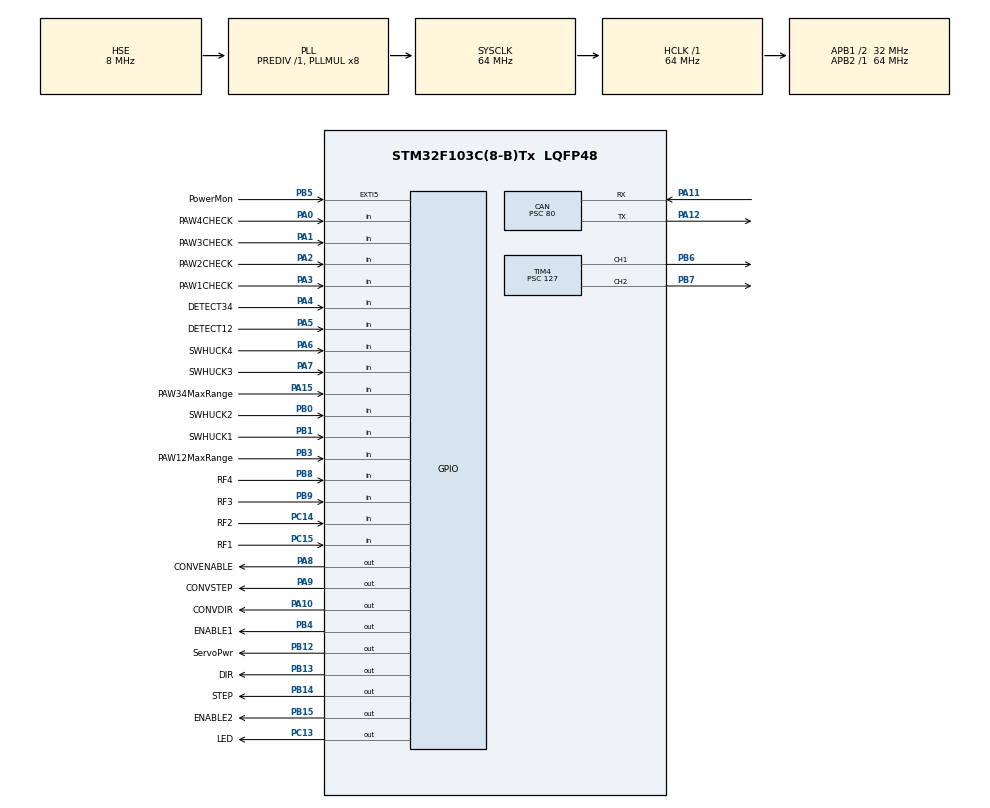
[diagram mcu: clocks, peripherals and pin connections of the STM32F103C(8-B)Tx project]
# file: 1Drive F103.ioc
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CAN.BS1=CAN_BS1_13TQ
CAN.BS2=CAN_BS2_2TQ
CAN.CalculateTimeBit=40000
CAN.CalculateTimeQuantum=2500.0
CAN.NART=ENABLE
CAN.Prescaler=80
CAN.SJW=CAN_SJW_2TQ
Mcu.Family=STM32F1
Mcu.Name=STM32F103C(8-B)Tx
Mcu.Package=LQFP48
NVIC.CAN1_RX1_IRQn=true\:0\:0\:false\:false\:true\:true\:true
NVIC.CAN1_SCE_IRQn=true\:0\:0\:false\:false\:true\:true\:true
NVIC.EXTI9_5_IRQn=true\:0\:0\:false\:false\:true\:true\:true
NVIC.PriorityGroup=NVIC_PRIORITYGROUP_4
NVIC.TIM4_IRQn=true\:0\:0\:false\:false\:true\:true\:true
NVIC.USB_HP_CAN1_TX_IRQn=true\:0\:0\:false\:false\:true\:true\:true
NVIC.USB_LP_CAN1_RX0_IRQn=true\:0\:0\:false\:false\:true\:true\:true
PA0-WKUP.GPIO_Label=PAW4CHECK
PA0-WKUP.GPIO_PuPd=GPIO_PULLDOWN
PA0-WKUP.Signal=GPIO_Input
PA1.GPIO_Label=PAW3CHECK
PA1.GPIO_PuPd=GPIO_PULLDOWN
PA1.Signal=GPIO_Input
PA10.GPIO_Label=CONVDIR
PA10.GPIO_PuPd=GPIO_PULLDOWN
PA10.Signal=GPIO_Output
PA11.Mode=Master
PA11.Signal=CAN_RX
PA12.Mode=Master
PA12.Signal=CAN_TX
PA13.Mode=Serial_Wire
PA13.Signal=SYS_JTMS-SWDIO
PA14.Mode=Serial_Wire
PA14.Signal=SYS_JTCK-SWCLK
PA15.GPIO_Label=PAW34MaxRange
PA15.GPIO_PuPd=GPIO_PULLDOWN
PA15.Signal=GPIO_Input
PA2.GPIO_Label=PAW2CHECK
PA2.GPIO_PuPd=GPIO_PULLDOWN
PA2.Signal=GPIO_Input
PA3.GPIO_Label=PAW1CHECK
PA3.GPIO_PuPd=GPIO_PULLDOWN
PA3.Signal=GPIO_Input
PA4.GPIO_Label=DETECT34
PA4.GPIO_PuPd=GPIO_PULLDOWN
PA4.Signal=GPIO_Input
PA5.GPIO_Label=DETECT12
PA5.GPIO_PuPd=GPIO_PULLDOWN
PA5.Signal=GPIO_Input
PA6.GPIO_Label=SWHUCK4
PA6.GPIO_PuPd=GPIO_PULLDOWN
PA6.Signal=GPIO_Input
PA7.GPIO_Label=SWHUCK3
PA7.GPIO_PuPd=GPIO_PULLDOWN
PA7.Signal=GPIO_Input
PA8.GPIO_Label=CONVENABLE
PA8.GPIO_PuPd=GPIO_PULLDOWN
PA8.Signal=GPIO_Output
PA9.GPIO_Label=CONVSTEP
PA9.GPIO_PuPd=GPIO_PULLDOWN
PA9.Signal=GPIO_Output
PB0.GPIO_Label=SWHUCK2
PB0.GPIO_PuPd=GPIO_PULLDOWN
PB0.Signal=GPIO_Input
PB1.GPIO_Label=SWHUCK1
PB1.GPIO_PuPd=GPIO_PULLDOWN
PB1.Signal=GPIO_Input
PB12.GPIO_Label=ServoPwr
PB12.GPIO_PuPd=GPIO_PULLDOWN
PB12.Signal=GPIO_Output
PB13.GPIO_Label=DIR
PB13.GPIO_PuPd=GPIO_PULLDOWN
PB13.Signal=GPIO_Output
PB14.GPIO_Label=STEP
PB14.GPIO_PuPd=GPIO_PULLDOWN
PB14.Signal=GPIO_Output
PB15.GPIO_Label=ENABLE2
PB15.GPIO_PuPd=GPIO_PULLUP
PB15.Signal=GPIO_Output
PB3.GPIO_Label=PAW12MaxRange
PB3.GPIO_PuPd=GPIO_PULLDOWN
PB3.Signal=GPIO_Input
PB4.GPIO_Label=ENABLE1
PB4.GPIO_ModeDefaultOutputPP=GPIO_MODE_OUTPUT_PP
PB4.GPIO_PuPd=GPIO_PULLUP
PB4.Signal=GPIO_Output
PB5.GPIO_Label=PowerMon
PB5.GPIO_ModeDefaultEXTI=GPIO_MODE_IT_FALLING
PB5.GPIO_PuPd=GPIO_PULLDOWN
PB5.Signal=GPXTI5
PB6.GPIO_Speed=GPIO_SPEED_FREQ_HIGH
PB6.Signal=S_TIM4_CH1
PB7.Signal=S_TIM4_CH2
PB8.GPIO_Label=RF4
PB8.GPIO_PuPd=GPIO_PULLDOWN
PB8.Signal=GPIO_Input
PB9.GPIO_Label=RF3
PB9.GPIO_PuPd=GPIO_PULLDOWN
PB9.Signal=GPIO_Input
PC13-TAMPER-RTC.GPIO_Label=LED
PC13-TAMPER-RTC.GPIO_PuPd=GPIO_PULLDOWN
PC13-TAMPER-RTC.Signal=GPIO_Output
PC14-OSC32_IN.GPIO_Label=RF2
PC14-OSC32_IN.GPIO_PuPd=GPIO_PULLDOWN
PC14-OSC32_IN.Signal=GPIO_Input
PC15-OSC32_OUT.GPIO_Label=RF1
PC15-OSC32_OUT.GPIO_PuPd=GPIO_PULLDOWN
PC15-OSC32_OUT.Signal=GPIO_Input
PD0-OSC_IN.Mode=HSE-External-Oscillator
PD0-OSC_IN.Signal=RCC_OSC_IN
PD1-OSC_OUT.Mode=HSE-External-Oscillator
PD1-OSC_OUT.Signal=RCC_OSC_OUT
ProjectManager.HeapSize=0x200
ProjectManager.StackSize=0x400
ProjectManager.TargetToolchain=MDK-ARM V5.27
RCC.AHBFreq_Value=64000000
RCC.APB1CLKDivider=RCC_HCLK_DIV2
RCC.APB1Freq_Value=32000000
RCC.APB1TimFreq_Value=64000000
RCC.APB2Freq_Value=64000000
RCC.APB2TimFreq_Value=64000000
RCC.HCLKFreq_Value=64000000
RCC.PLLMUL=RCC_PLL_MUL8
RCC.PLLSourceVirtual=RCC_PLLSOURCE_HSE
RCC.SYSCLKFreq_VALUE=64000000
RCC.SYSCLKSource=RCC_SYSCLKSOURCE_PLLCLK
RCC.USBFreq_Value=64000000
SH.S_TIM4_CH1.0=TIM4_CH1,PWM Generation1 CH1
SH.S_TIM4_CH2.0=TIM4_CH2,PWM Generation2 CH2
TIM4.AutoReloadPreload=TIM_AUTORELOAD_PRELOAD_DISABLE
TIM4.Channel-PWM\ Generation1\ CH1=TIM_CHANNEL_1
TIM4.Channel-PWM\ Generation2\ CH2=TIM_CHANNEL_2
TIM4.Period=10000
TIM4.Prescaler=127
VP_TIM4_VS_ClockSourceINT.Mode=Internal
board=custom

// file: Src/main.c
/* USER CODE BEGIN Header */
/**
  ******************************************************************************
  * @file           : main.c
  * @brief          : Main program body
  ******************************************************************************
  * @attention
  *
  * <h2><center>&copy; Copyright (c) 2020 STMicroelectronics.
  * All rights reserved.</center></h2>
  *
  * This software component is licensed by ST under BSD 3-Clause license,
  * the "License"; You may not use this file except in compliance with the
  * License. You may obtain a copy of the License at:
  *                        opensource.org/licenses/BSD-3-Clause
  *
  ******************************************************************************
  */
/* USER CODE END Header */

#include "main.h"

CAN_HandleTypeDef hcan;

TIM_HandleTypeDef htim4;

void SystemClock_Config(void);
static void MX_GPIO_Init(void);
static void MX_CAN_Init(void);
static void MX_TIM4_Init(void);
/* USER CODE BEGIN PFP */

	// variables for CAN communication
	CAN_TxHeaderTypeDef   TxHeader = {0};
	CAN_RxHeaderTypeDef   RxHeader	= {0};
	 uint8_t               RxData[8] = {0};
	uint32_t              TxMailbox = 0;
	volatile uint16_t		 					RxFlags = 0;				// flags for RX request handling

	//variables for control stepdrives
	volatile int16_t Goal = 0; 						// Goal of paws position
	volatile int16_t Position = 0;   			// position whaere paws located
	volatile uint32_t MinDelay = 40000; 	  // Max Speed (delay between toggles step pin than speed is MAX)
	volatile uint32_t StepDelay = 0;				// delay between steps
	volatile uint16_t Boost = 10000; 			// 1 = MAX boost 65535 = MIN boost
	volatile uint32_t MinSpeed = 600;	  	// move graphic boost function to left side. Whan value == 0 boost function do not move
	volatile int16_t PawMaxPosition = 2000;// this value must be determinate by colibration!!!
	volatile int16_t PawMinPosition = 2000;// this value must be determinate by colibration!!!
	volatile int16_t PositionForTransmit =0;

	//variable for Servo control
	volatile uint16_t PawRxSize = 0;
	volatile uint16_t PawSize = 0;			 	// range between 600 and 870
	volatile uint16_t PawMaxSize = 850; 	// MAX value of variable PawSize, need colibration after reset!
	// NEED REALISE PawMinSize FUNCTION!
	volatile uint16_t PawMinSize = 600; 	// MIN value of variable PawSize, need colibration after reset!
	volatile uint32_t PawOldGetTick = 0;
//uint8_t PawZeroPosition = 1;

	//variables for Conveyor control
	volatile int16_t ConvRot = 0;			// ritation conveyor on this steps + or -

/* USER CODE END PFP */

int main(void)
{
  /* USER CODE BEGIN 1 */
  SCB_DEMCR |= CoreDebug_DEMCR_TRCENA_Msk;// ????????? ???????????? DWT
  DWT_CONTROL|= DWT_CTRL_CYCCNTENA_Msk; // ???????? ???????
  DWT_CYCCNT = 0;// ???????? ???????
  /* USER CODE END 1 */

  /* MCU Configuration--------------------------------------------------------*/

  /* Reset of all peripherals, Initializes the Flash interface and the Systick. */
  HAL_Init();

  /* Configure the system clock */
  SystemClock_Config();

  /* Initialize all configured peripherals */
  MX_GPIO_Init();
  MX_CAN_Init();
  MX_TIM4_Init();
  /* USER CODE BEGIN 2 */
	HAL_GPIO_WritePin(ENABLE1_GPIO_Port, ENABLE1_Pin, GPIO_PIN_SET); // turn Off drivers
	HAL_GPIO_WritePin(ENABLE2_GPIO_Port, ENABLE2_Pin, GPIO_PIN_SET); // turn Off drivers

	GPIOC->ODR = 0 << 13;HAL_Delay(500);GPIOC->ODR = 1 << 13;HAL_Delay(300);

	HAL_TIM_PWM_Start(&htim4,TIM_CHANNEL_1);
	HAL_TIM_PWM_Start(&htim4,TIM_CHANNEL_2);
	TIM4 -> CCR1 = 850;
	TIM4 -> CCR2 = 850;
	HAL_Delay(500);

  /* USER CODE END 2 */

  /* Infinite loop */
  /* USER CODE BEGIN WHILE */
  while (1)
  {
		MotorControl();
		RxAnswerFunction();
		ScanBox();

	/////////////for debug////////
//		if ( (HAL_GPIO_ReadPin(PAW2CHECK_GPIO_Port,PAW2CHECK_Pin) == 1) )GPIOC->ODR = 0 << 13;
//		else GPIOC->ODR = 1 << 13;
//	if ( (HAL_GPIO_ReadPin(DETECT12_GPIO_Port,DETECT12_Pin) == 1) )GPIOC->ODR = 0 << 13;
//		else GPIOC->ODR = 1 << 13;
		///////for debug/////////////

    /* USER CODE END WHILE */

  }
}

void SystemClock_Config(void)
{
  RCC_OscInitTypeDef RCC_OscInitStruct = {0};
  RCC_ClkInitTypeDef RCC_ClkInitStruct = {0};

  /** Initializes the CPU, AHB and APB busses clocks
  */
  RCC_OscInitStruct.OscillatorType = RCC_OSCILLATORTYPE_HSE;
  RCC_OscInitStruct.HSEState = RCC_HSE_ON;
  RCC_OscInitStruct.HSEPredivValue = RCC_HSE_PREDIV_DIV1;
  RCC_OscInitStruct.HSIState = RCC_HSI_ON;
  RCC_OscInitStruct.PLL.PLLState = RCC_PLL_ON;
  RCC_OscInitStruct.PLL.PLLSource = RCC_PLLSOURCE_HSE;
  RCC_OscInitStruct.PLL.PLLMUL = RCC_PLL_MUL8;
  if (HAL_RCC_OscConfig(&RCC_OscInitStruct) != HAL_OK)
  {
    Error_Handler();
  }
  /** Initializes the CPU, AHB and APB busses clocks
  */
  RCC_ClkInitStruct.ClockType = RCC_CLOCKTYPE_HCLK|RCC_CLOCKTYPE_SYSCLK
                              |RCC_CLOCKTYPE_PCLK1|RCC_CLOCKTYPE_PCLK2;
  RCC_ClkInitStruct.SYSCLKSource = RCC_SYSCLKSOURCE_PLLCLK;
  RCC_ClkInitStruct.AHBCLKDivider = RCC_SYSCLK_DIV1;
  RCC_ClkInitStruct.APB1CLKDivider = RCC_HCLK_DIV2;
  RCC_ClkInitStruct.APB2CLKDivider = RCC_HCLK_DIV1;

  if (HAL_RCC_ClockConfig(&RCC_ClkInitStruct, FLASH_LATENCY_2) != HAL_OK)
  {
    Error_Handler();
  }
}

static void MX_CAN_Init(void)
{

  hcan.Instance = CAN1;
  hcan.Init.Prescaler = 80;
  hcan.Init.Mode = CAN_MODE_NORMAL;
  hcan.Init.SyncJumpWidth = CAN_SJW_2TQ;
  hcan.Init.TimeSeg1 = CAN_BS1_13TQ;
  hcan.Init.TimeSeg2 = CAN_BS2_2TQ;
  hcan.Init.TimeTriggeredMode = DISABLE;
  hcan.Init.AutoBusOff = DISABLE;
  hcan.Init.AutoWakeUp = DISABLE;
  hcan.Init.AutoRetransmission = ENABLE;
  hcan.Init.ReceiveFifoLocked = DISABLE;
  hcan.Init.TransmitFifoPriority = DISABLE;
  if (HAL_CAN_Init(&hcan) != HAL_OK)
  {
    Error_Handler();
  }
  /* USER CODE BEGIN CAN_Init 2 */
 CAN_FilterTypeDef  sFilterConfig;

  sFilterConfig.FilterBank = 0;
  sFilterConfig.FilterMode = CAN_FILTERMODE_IDMASK;
  sFilterConfig.FilterScale = CAN_FILTERSCALE_16BIT;
  sFilterConfig.FilterIdHigh = 0x0100 << 5;
  sFilterConfig.FilterIdLow = 0x0000;
  sFilterConfig.FilterMaskIdHigh = 0x0F00 << 5;
  sFilterConfig.FilterMaskIdLow = 0xFFFF;
  sFilterConfig.FilterFIFOAssignment = CAN_RX_FIFO0;
  sFilterConfig.FilterActivation = ENABLE;
  sFilterConfig.SlaveStartFilterBank = 14;

  if (HAL_CAN_ConfigFilter(&hcan, &sFilterConfig) != HAL_OK)
  {
    /* Filter configuration Error */
    Error_Handler();
  }

  /* Start the CAN peripheral */
  if (HAL_CAN_Start(&hcan) != HAL_OK)
  {
    /* Start Error */
    Error_Handler();
  }

  /* Activate CAN RX notification */
  if (HAL_CAN_ActivateNotification(&hcan, CAN_IT_RX_FIFO0_MSG_PENDING) != HAL_OK)
  {
    /* Notification Error */
    Error_Handler();
  }

  /* Configure Transmission process */

	//TxHeader.StdId = 0x0300;
  //TxHeader.RTR = CAN_RTR_DATA;
  TxHeader.IDE = CAN_ID_STD;
  //TxHeader.DLC = 8;
  TxHeader.TransmitGlobalTime = DISABLE;

  /* USER CODE END CAN_Init 2 */

}

static void MX_TIM4_Init(void)
{

  TIM_ClockConfigTypeDef sClockSourceConfig = {0};
  TIM_MasterConfigTypeDef sMasterConfig = {0};
  TIM_OC_InitTypeDef sConfigOC = {0};

  htim4.Instance = TIM4;
  htim4.Init.Prescaler = 127;
  htim4.Init.CounterMode = TIM_COUNTERMODE_UP;
  htim4.Init.Period = 10000;
  htim4.Init.ClockDivision = TIM_CLOCKDIVISION_DIV1;
  htim4.Init.AutoReloadPreload = TIM_AUTORELOAD_PRELOAD_DISABLE;
  if (HAL_TIM_Base_Init(&htim4) != HAL_OK)
  {
    Error_Handler();
  }
  sClockSourceConfig.ClockSource = TIM_CLOCKSOURCE_INTERNAL;
  if (HAL_TIM_ConfigClockSource(&htim4, &sClockSourceConfig) != HAL_OK)
  {
    Error_Handler();
  }
  if (HAL_TIM_PWM_Init(&htim4) != HAL_OK)
  {
    Error_Handler();
  }
  sMasterConfig.MasterOutputTrigger = TIM_TRGO_RESET;
  sMasterConfig.MasterSlaveMode = TIM_MASTERSLAVEMODE_DISABLE;
  if (HAL_TIMEx_MasterConfigSynchronization(&htim4, &sMasterConfig) != HAL_OK)
  {
    Error_Handler();
  }
  sConfigOC.OCMode = TIM_OCMODE_PWM1;
  sConfigOC.Pulse = 0;
  sConfigOC.OCPolarity = TIM_OCPOLARITY_HIGH;
  sConfigOC.OCFastMode = TIM_OCFAST_DISABLE;
  if (HAL_TIM_PWM_ConfigChannel(&htim4, &sConfigOC, TIM_CHANNEL_1) != HAL_OK)
  {
    Error_Handler();
  }
  if (HAL_TIM_PWM_ConfigChannel(&htim4, &sConfigOC, TIM_CHANNEL_2) != HAL_OK)
  {
    Error_Handler();
  }
  HAL_TIM_MspPostInit(&htim4);

}

static void MX_GPIO_Init(void)
{
  GPIO_InitTypeDef GPIO_InitStruct = {0};

  /* GPIO Ports Clock Enable */
  __HAL_RCC_GPIOC_CLK_ENABLE();
  __HAL_RCC_GPIOD_CLK_ENABLE();
  __HAL_RCC_GPIOA_CLK_ENABLE();
  __HAL_RCC_GPIOB_CLK_ENABLE();

  /*Configure GPIO pin Output Level */
  HAL_GPIO_WritePin(LED_GPIO_Port, LED_Pin, GPIO_PIN_RESET);

  /*Configure GPIO pin Output Level */
  HAL_GPIO_WritePin(GPIOB, ServoPwr_Pin|DIR_Pin|STEP_Pin|ENABLE2_Pin
                          |ENABLE1_Pin, GPIO_PIN_RESET);

  /*Configure GPIO pin Output Level */
  HAL_GPIO_WritePin(GPIOA, CONVENABLE_Pin|CONVSTEP_Pin|CONVDIR_Pin, GPIO_PIN_RESET);

  /*Configure GPIO pin : LED_Pin */
  GPIO_InitStruct.Pin = LED_Pin;
  GPIO_InitStruct.Mode = GPIO_MODE_OUTPUT_PP;
  GPIO_InitStruct.Pull = GPIO_PULLDOWN;
  GPIO_InitStruct.Speed = GPIO_SPEED_FREQ_LOW;
  HAL_GPIO_Init(LED_GPIO_Port, &GPIO_InitStruct);

  /*Configure GPIO pins : RF2_Pin RF1_Pin */
  GPIO_InitStruct.Pin = RF2_Pin|RF1_Pin;
  GPIO_InitStruct.Mode = GPIO_MODE_INPUT;
  GPIO_InitStruct.Pull = GPIO_PULLDOWN;
  HAL_GPIO_Init(GPIOC, &GPIO_InitStruct);

  /*Configure GPIO pins : PAW4CHECK_Pin PAW3CHECK_Pin PAW2CHECK_Pin PAW1CHECK_Pin
                           DETECT34_Pin DETECT12_Pin SWHUCK4_Pin SWHUCK3_Pin
                           PAW34MaxRange_Pin */
  GPIO_InitStruct.Pin = PAW4CHECK_Pin|PAW3CHECK_Pin|PAW2CHECK_Pin|PAW1CHECK_Pin
                          |DETECT34_Pin|DETECT12_Pin|SWHUCK4_Pin|SWHUCK3_Pin
                          |PAW34MaxRange_Pin;
  GPIO_InitStruct.Mode = GPIO_MODE_INPUT;
  GPIO_InitStruct.Pull = GPIO_PULLDOWN;
  HAL_GPIO_Init(GPIOA, &GPIO_InitStruct);

  /*Configure GPIO pins : SWHUCK2_Pin SWHUCK1_Pin PAW12MaxRange_Pin RF4_Pin
                           RF3_Pin */
  GPIO_InitStruct.Pin = SWHUCK2_Pin|SWHUCK1_Pin|PAW12MaxRange_Pin|RF4_Pin
                          |RF3_Pin;
  GPIO_InitStruct.Mode = GPIO_MODE_INPUT;
  GPIO_InitStruct.Pull = GPIO_PULLDOWN;
  HAL_GPIO_Init(GPIOB, &GPIO_InitStruct);

  /*Configure GPIO pins : ServoPwr_Pin DIR_Pin STEP_Pin */
  GPIO_InitStruct.Pin = ServoPwr_Pin|DIR_Pin|STEP_Pin;
  GPIO_InitStruct.Mode = GPIO_MODE_OUTPUT_PP;
  GPIO_InitStruct.Pull = GPIO_PULLDOWN;
  GPIO_InitStruct.Speed = GPIO_SPEED_FREQ_LOW;
  HAL_GPIO_Init(GPIOB, &GPIO_InitStruct);

  /*Configure GPIO pins : ENABLE2_Pin ENABLE1_Pin */
  GPIO_InitStruct.Pin = ENABLE2_Pin|ENABLE1_Pin;
  GPIO_InitStruct.Mode = GPIO_MODE_OUTPUT_PP;
  GPIO_InitStruct.Pull = GPIO_PULLUP;
  GPIO_InitStruct.Speed = GPIO_SPEED_FREQ_LOW;
  HAL_GPIO_Init(GPIOB, &GPIO_InitStruct);

  /*Configure GPIO pins : CONVENABLE_Pin CONVSTEP_Pin CONVDIR_Pin */
  GPIO_InitStruct.Pin = CONVENABLE_Pin|CONVSTEP_Pin|CONVDIR_Pin;
  GPIO_InitStruct.Mode = GPIO_MODE_OUTPUT_PP;
  GPIO_InitStruct.Pull = GPIO_PULLDOWN;
  GPIO_InitStruct.Speed = GPIO_SPEED_FREQ_LOW;
  HAL_GPIO_Init(GPIOA, &GPIO_InitStruct);

  /*Configure GPIO pin : PowerMon_Pin */
  GPIO_InitStruct.Pin = PowerMon_Pin;
  GPIO_InitStruct.Mode = GPIO_MODE_IT_FALLING;
  GPIO_InitStruct.Pull = GPIO_PULLDOWN;
  HAL_GPIO_Init(PowerMon_GPIO_Port, &GPIO_InitStruct);

  /* EXTI interrupt init*/
  HAL_NVIC_SetPriority(EXTI9_5_IRQn, 0, 0);
  HAL_NVIC_EnableIRQ(EXTI9_5_IRQn);

}

/* USER CODE BEGIN 4 */
void HAL_CAN_RxFifo0MsgPendingCallback(CAN_HandleTypeDef *hcan)
{
  /* Get RX message */
  HAL_CAN_GetRxMessage(hcan, CAN_RX_FIFO0, &RxHeader, RxData);

	switch (RxHeader.StdId & 0x00FF)
	{
		case 1:
			// request valie of distanse 1,2,3,4

			RxFlags |= 1<<1;
		break;
		case 2:
			// RESET mcu
			NVIC_SystemReset();
		break;
		case 3://data s16
			//new Goal of position paws 'N'

			//////for debug////////
		GPIOC->ODR = 0 << 13;
		//////end debug///////

			RxFlags |= 1<<3;
			Goal =(((uint16_t) RxData[0]<<8) | RxData[1]);
		break;
		case 4:
			//reduction paws until tuch

			RxFlags |= 1<<4;
		break;
		case 5:
			//remove the grip in '0' position

			RxFlags |= 1<<5;
			Goal = 0;
		break;
		case 6://data u16
			// reduction paws on the distanse 'PawSize'
			GPIOC->ODR = 0 << 13;

			RxFlags |= 1<<6;
			PawOldGetTick = HAL_GetTick();
			PawRxSize = (((uint16_t) RxData[0]<<8) | RxData[1]);
			PawSize = PawRxSize;
			TIM4 -> CCR1 = PawSize;
			TIM4 -> CCR2 = PawSize;

		break;
		case 7://data u32
			// set max speed moving paws

			RxFlags |= 1<<7;
			MinDelay = ( ((uint32_t) RxData[0]<<24) | ((uint32_t) RxData[1]<<16) | ((uint32_t) RxData[2]<<8) | RxData[3]);
		break;
		case 8://data s16
			// rotate conveyor on "A" steps + or -

			RxFlags |= 1<<8;
			ConvRot = ( ((uint16_t) RxData[0]<<8) | RxData[1]);
		break;
		case 9:
			// request of conveer position

			RxFlags |= 1<<9;
		break;
		case 10:
			// request of paws size, need send "PawSize"

			RxFlags |= 1<<10;
		break;
		case 11:
			// calibrate max speed and long paws.
			// need send value:  max posetive range '+'16b, Max negative range '-'16b, Max Speed(Min delay)32b.

			RxFlags |= 1<<11;
		break;
		case 12:
			// calibrate max and min range between paws
			// anser weel be (Colibration complete, MAX uint16_t value, MIN uint16_t value)

			RxFlags |= 1<<12;
		break;
		case 13:
			// EMERGENCY STOP!

			RxFlags |= 1<<13;
		break;
		case 14:
			// scan DEPTH of BOX
		//	GPIOC->ODR = 0 << 13;
			RxFlags |= 1<<14;
		break;
	}

  /* Display LEDx */
	/*
	if ((RxHeader.StdId == 0x0010) && (RxHeader.IDE == CAN_ID_STD) && (RxHeader.DLC == 8))
  {
	 GPIOC->ODR = RxData[0] << 13;
  }
	*/
}
void HAL_CAN_TxMailbox0CompleteCallback (CAN_HandleTypeDef *hcan)
{
	 GPIOC->ODR = 0 << 13;
//	HAL_Delay(100);
	GPIOC->ODR = 1 << 13;

}

char MotorControl (void)
{
	/* This function for work use graphic (1/x*x)

	Global variables for work this function:

	uint32_t Goal = 0; 					// Goal of cart position
	uint32_t Position = 0;   		// position whaere cart located
	uint32_t MinDelay = 20000;  // Max Speed (delay between toggles step pin than speed is MAX)
	uint32_t StepDelay = 0;			// delay between steps
	uint16_t Boost = 8000; 			// 1 = MAX boost 65535 = MIN boost
	uint32_t MinSpeed = 600;	  // move graphic boost function to left side. Whan value == 0 boost function do not move
	*/

		static uint32_t Distance = 0;		// nomber of steps between Location and Goal
		static uint32_t Step = 0;				// nomber of step
		static uint8_t FlagStep = 0;

	if (Position != Goal)
	{
		HAL_GPIO_WritePin(ENABLE1_GPIO_Port, ENABLE1_Pin, GPIO_PIN_RESET);
		HAL_GPIO_WritePin(ENABLE2_GPIO_Port, ENABLE2_Pin, GPIO_PIN_RESET);

		// Direction computing
		if(Goal < Position)// && Goal >= 0)
			{
				Distance = Position - Goal;
				HAL_GPIO_WritePin(DIR_GPIO_Port, DIR_Pin, GPIO_PIN_RESET);
			}
		else// if (Goal > Position)
			{
				Distance = Goal - Position;
				HAL_GPIO_WritePin(DIR_GPIO_Port, DIR_Pin, GPIO_PIN_SET);
			}

		// pulce fore drive	control
		if(DWT_CYCCNT > 1000 && FlagStep == 1) // turn off Step Pin. Make pulse long ~ 20mks
				{
					HAL_GPIO_WritePin(STEP_GPIO_Port, STEP_Pin, GPIO_PIN_RESET);
					FlagStep = 0;
				}

		// Boost
		if (Step < Distance/2 && StepDelay < DWT_CYCCNT)
			{
				HAL_GPIO_WritePin(STEP_GPIO_Port, STEP_Pin, GPIO_PIN_SET);
				DWT_CYCCNT = 0;	//counter of tacts = 0
				FlagStep = 1;
				Step++;
				StepDelay = ((MinDelay* Boost)/(((Step)*(Step))+MinSpeed))+MinDelay; // computing delay
				if(Goal > Position)PositionForTransmit++;
			  else PositionForTransmit--;
			}

		// SLowDOwn (inverted boot)
		if (Step >= Distance/2 && StepDelay < DWT_CYCCNT)
			{
				HAL_GPIO_WritePin(STEP_GPIO_Port, STEP_Pin, GPIO_PIN_SET);
				DWT_CYCCNT = 0;
				FlagStep = 1;
				Step++;
				StepDelay = ((MinDelay*Boost)/(((Distance-Step)*(Distance-Step))+MinSpeed))+MinDelay;
				if(Goal > Position)PositionForTransmit++;
				else PositionForTransmit--;
			}

			// if we arrived to destenation
	if (Step == Distance)
			{
					Position = Goal;
					Distance=0;
					Step = 0;
					FlagStep = 0;
					StepDelay = 0;
					HAL_GPIO_WritePin(ENABLE1_GPIO_Port, ENABLE1_Pin, GPIO_PIN_SET);
					HAL_GPIO_WritePin(ENABLE2_GPIO_Port, ENABLE2_Pin, GPIO_PIN_SET);
					return 0; // Function Finish Work

			}
			return 1;	// Function in Work
		}
	return 0; // Function redy to Work
}

void RxAnswerFunction(void )
{
	/* aftre complete writing
	1 check all Flag bits (set or reset)
	2 makes check paws zero position
	3 complete function #5
	4 modifide function #4 with use PawGripPotenciometr whan it is will possably
	5 invert serfo
	*/

		// Anser on rangefinder request
		if ((RxFlags & 1<<1) == (uint16_t)1<<1)
		{
				uint8_t TxData[4] = {0};

				TxData[0] =	HAL_GPIO_ReadPin(RF1_GPIO_Port, RF1_Pin);
				TxData[1] =	HAL_GPIO_ReadPin(RF2_GPIO_Port, RF2_Pin);
				TxData[2] =	HAL_GPIO_ReadPin(RF3_GPIO_Port, RF3_Pin);
				TxData[3] =	HAL_GPIO_ReadPin(RF4_GPIO_Port, RF4_Pin);

				TxHeader.StdId = 0x0301;
				TxHeader.RTR = CAN_RTR_DATA;
				TxHeader.DLC = 4;

				//send msg and reset flg
				if (HAL_CAN_AddTxMessage(&hcan, &TxHeader, TxData, &TxMailbox) == HAL_OK) RxFlags &= ~((uint16_t)1<<1);
		}

		// moving paws to Position Complete
		if (((RxFlags & 1<<3) == (uint16_t)1<<3)&& (Goal == Position))
		{
				///////////////////////////////////
				//here must be check  Max and Min limites of position
				///////////////////////////////////
									//////for debug////////
								GPIOC->ODR = 1 << 13;
								//////end debug///////
				//send msg and reset flag

				if (CanTxMsg(Position,0x0303,2)==0)
				{					RxFlags &= ~((uint16_t)1<<3);
					GPIOC->ODR = 1 << 13;}
		}

		//function to grip on box
		if ((RxFlags & 1<<4) == (uint16_t)1<<4)
		{	// side 1+ (1,2)        if PawSize== 600 -> |<<-->>|	far  (razvedeny) IT IS NEED Fixed !!!!
			// side 2- (3,4)				if PawSize== 900 -> ->>||<<-	near (svedeny)	 IT IS NEED Fixed !!!! (inverted)
			// optimal speed of convergence: every 4 MilliSeconds make PawSize++
		static uint8_t CheckBoxError = 0;
			//convergence of paws

////////if position > 0////////////////////////////////////////////
			if (Position > 0 && HAL_GetTick() > PawOldGetTick) // side 1
			{
				//check existence BOX between paws
				if(HAL_GPIO_ReadPin(DETECT12_GPIO_Port, DETECT12_Pin) == 0  && CheckBoxError == 0)
					{//send ERROR!! BOX not existance!
						CanTxMsg(0,0x0308,0);
						CheckBoxError = 1;
						////for debug////////////////
						GPIOC ->ODR = 0 <<13;
						/////end debug///////////////
					}
				// check if paws do not tuch the box (buttons do not triggered)
				if (PawSize + 10 >= PawMaxSize/*BoxMinSize*/)// minimum size of paws
					{//send FATAL ERROR!! BOX do not gripped
							CheckBoxError = 0;
							RxFlags &= ~((uint16_t)1<<4);
							CanTxMsg(0,0x0309,0);
							TIM4 -> CCR1 = PawRxSize;
							TIM4 -> CCR1 = PawRxSize;
					}
				PawOldGetTick = HAL_GetTick() + 4;	// delay 4 milli seconds
				PawSize++;
				TIM4 -> CCR1 = PawSize;
				TIM4 -> CCR2 = PawSize - 3;// range of back side must be more on 3
			}
//////if position <= 0  ///////////////////////////////////////////////////////////
			if (Position <= 0 && HAL_GetTick() > PawOldGetTick) // side 2
			{
				//check existence BOX between paws
				if(HAL_GPIO_ReadPin(DETECT34_GPIO_Port, DETECT34_Pin) == 0 && CheckBoxError == 0)
					{//send ERROR
							CanTxMsg(0,0x0308,0);
							CheckBoxError = 1;
					}
				// check if paws do not tuched the box (buttons do not triggered)
					if (PawSize + 10 >= PawMaxSize/*BoxMinSize*/)// minimum size of paws
					{//send FATAL ERROR!
							CheckBoxError = 0;
							RxFlags &= ~((uint16_t)1<<4);
							CanTxMsg(0,0x0309,0);
							TIM4 -> CCR1 = PawRxSize;
							TIM4 -> CCR1 = PawRxSize;
					}

				PawOldGetTick = HAL_GetTick() + 4;
				PawSize++;
				TIM4 -> CCR1 = PawSize - 3;// range of back side must be more on 3
				TIM4 -> CCR2 = PawSize;
			}
///////////if gripping successful///////////////////////////////
			if  (HAL_GPIO_ReadPin(SWHUCK1_GPIO_Port, SWHUCK1_Pin)&&  				\
					 HAL_GPIO_ReadPin(SWHUCK2_GPIO_Port, SWHUCK2_Pin) == 1)
					{
						////for deug//////////////
						GPIOC ->ODR = 1 <<13;
						///end debug///////////////

						// here must be PawSize1 whan it whill be declorated
						CanTxMsg(PawSize,0x0304,2);
						RxFlags &= ~((uint16_t)1<<4);
						CheckBoxError = 0;
					}

			if	(HAL_GPIO_ReadPin(SWHUCK3_GPIO_Port, SWHUCK3_Pin)&&  				\
					 HAL_GPIO_ReadPin(SWHUCK4_GPIO_Port, SWHUCK4_Pin) == 1)
					{

						// here must be PawSize2 whan it whill be declorated
						CanTxMsg(PawSize,0x0304, 2);
						RxFlags &= ~((uint16_t)1<<4);
						CheckBoxError = 0;
					}
		}
				// Check ERROR "paws lost position"
				// IF "0" position of paws is lost! ERROR!
			if ((Position == 0) && ((HAL_GPIO_ReadPin(PAW1CHECK_GPIO_Port,PAW1CHECK_Pin))|| \
															(HAL_GPIO_ReadPin(PAW2CHECK_GPIO_Port,PAW2CHECK_Pin))|| \
															(HAL_GPIO_ReadPin(PAW3CHECK_GPIO_Port,PAW3CHECK_Pin))|| \
															(HAL_GPIO_ReadPin(PAW4CHECK_GPIO_Port,PAW4CHECK_Pin))== 1))//HERE POSSABLY BE MISTAKE 0 OR 1!!!!
			{// Send ERROR!! Paws lost "0" position
					TxHeader.StdId = 0x030A;
					TxHeader.RTR = CAN_RTR_REMOTE;
					TxHeader.DLC = 0;

				HAL_CAN_AddTxMessage(&hcan, &TxHeader, 0, &TxMailbox);
			}

			// function moves paws to "0" position
		if (((RxFlags & 1<<5) ==  (uint16_t)1<<5) && 																					\
															(0 == Position) && 																					\
															((HAL_GPIO_ReadPin(PAW1CHECK_GPIO_Port,PAW1CHECK_Pin))|| 		\
															(HAL_GPIO_ReadPin(PAW2CHECK_GPIO_Port,PAW2CHECK_Pin)) || 		\
															(HAL_GPIO_ReadPin(PAW3CHECK_GPIO_Port,PAW3CHECK_Pin)) || 		\
															(HAL_GPIO_ReadPin(PAW4CHECK_GPIO_Port,PAW4CHECK_Pin))== 0))	//HERE POSSABLY BE MISTAKE 0 OR 1!!!!//
		{
					// paws in "0" position
					TxHeader.StdId = 0x0305;
					TxHeader.RTR = CAN_RTR_REMOTE;
					TxHeader.DLC = 0;

					//send msg and reset flg
					if (HAL_CAN_AddTxMessage(&hcan, &TxHeader, 0, &TxMailbox) == HAL_OK) RxFlags &= ~((uint16_t)1<<5);
		}
		// reduction paws on the distanse 'PawSize'
		if ( ((RxFlags & 1<<6) == (uint16_t)1<<6) && ((PawOldGetTick + 700) < HAL_GetTick()) )
		{

				GPIOC->ODR = 1 << 13;

				uint8_t TxData[2] = {0};
				TxData[0] = PawSize >> 8;
				TxData[1] = PawSize;
				/*///////////////////////
				its will be cool if PawSize will be check by potenchiometr
				*////////////////////////

			  TxHeader.StdId = 0x0306;
				TxHeader.RTR = CAN_RTR_DATA;
				TxHeader.DLC = 2;

				//send msg and reset flg
				//if (HAL_CAN_AddTxMessage(&hcan, &TxHeader, TxData, &TxMailbox) == HAL_OK) RxFlags &= ~((uint16_t)1<<6);
				HAL_CAN_AddTxMessage(&hcan, &TxHeader, TxData, &TxMailbox);
				RxFlags &= ~((uint16_t)1<<6);
		}
		//rotation conveyor complete
		if (((RxFlags & 1<<8) == (uint16_t)1<<8) && (ConvRot == 0))
		{
				TxHeader.StdId = 0x1307;
				TxHeader.RTR = CAN_RTR_REMOTE;
				TxHeader.DLC = 0;

			if (HAL_CAN_AddTxMessage(&hcan, &TxHeader, 0, &TxMailbox) == HAL_OK) RxFlags &= ~((uint16_t)1<<8);
		}
		// section for 12 function: control of lost box
			if(1){
						//if 1,2 buttn pushed
						static uint8_t OldButtPress1 =0,OldButtPress2 =0,OldButtPress3 =0,OldButtPress4 =0;
						if ((HAL_GPIO_ReadPin(SWHUCK1_GPIO_Port, SWHUCK1_Pin)&&  				\
								 HAL_GPIO_ReadPin(SWHUCK2_GPIO_Port, SWHUCK2_Pin) == 1))
								{
									OldButtPress1 =1;
									OldButtPress2 =1;
								}
						//if 3,4 buttn pushed
						if ((HAL_GPIO_ReadPin(SWHUCK3_GPIO_Port, SWHUCK3_Pin)&&  				\
								 HAL_GPIO_ReadPin(SWHUCK4_GPIO_Port, SWHUCK4_Pin) == 1))
								{
									OldButtPress3 =1;
									OldButtPress4 =1;
								}
						//if 1, 2 buttn released
						if ((HAL_GPIO_ReadPin(SWHUCK1_GPIO_Port, SWHUCK1_Pin)&&  				\
								 HAL_GPIO_ReadPin(SWHUCK2_GPIO_Port, SWHUCK2_Pin) == 0)&&			\
								(OldButtPress1 && OldButtPress2 == 1))
								{
									OldButtPress1 =0;
									OldButtPress2 =0;
									// send: Box lost or released
										TxHeader.StdId = 0x030C;
										TxHeader.RTR = CAN_RTR_REMOTE;
										TxHeader.DLC = 0;

										HAL_CAN_AddTxMessage(&hcan, &TxHeader, 0, &TxMailbox);
								}
						//if 3, 4 buttn released
						if ((HAL_GPIO_ReadPin(SWHUCK3_GPIO_Port, SWHUCK3_Pin)&&  				\
								 HAL_GPIO_ReadPin(SWHUCK4_GPIO_Port, SWHUCK4_Pin) == 0)&&   \
									(OldButtPress3 && OldButtPress4 == 1))
								{
									OldButtPress3 =0;
									OldButtPress4 =0;
									// send: Box lost or released
										TxHeader.StdId = 0x030C;
										TxHeader.RTR = CAN_RTR_REMOTE;
										TxHeader.DLC = 0;

										HAL_CAN_AddTxMessage(&hcan, &TxHeader, 0, &TxMailbox);
								}
						}

}

void CalobrationPawSize(void)
{
	if ((RxFlags & 1<<12) == (uint16_t)1<<12)
	{
		uint32_t TimeOff = HAL_GetTick();
		uint8_t flaglag = 0;
		PawSize = 700;
		while ((TimeOff + 40000 > HAL_GetTick())&& flaglag == 0)
		{
			/////////!!!!///////
			// need makes correction for parallel paws
			PawSize++;
			TIM4 -> CCR1 = PawSize;
			TIM4 -> CCR2 = PawSize;
			HAL_Delay(6);

			if(HAL_GPIO_ReadPin(SWHUCK1_GPIO_Port, SWHUCK1_Pin)&&\
				 HAL_GPIO_ReadPin(SWHUCK2_GPIO_Port, SWHUCK2_Pin)&&\
				 HAL_GPIO_ReadPin(SWHUCK3_GPIO_Port, SWHUCK3_Pin)&&\
				 HAL_GPIO_ReadPin(SWHUCK4_GPIO_Port, SWHUCK4_Pin) == 1)
			///////////////////////////////////////////////////////
			//  here must be function correction for parallels paws
			///////////////////////////////////////////////////////
			{
				flaglag = 1;
				PawMinSize = PawSize;
				TIM4 -> CCR1 = 700;
				TIM4 -> CCR2 = 700;
			}
		}
		//////////////////////////////////
		// Here must be colibration max range between paws
		// Use two limit switch on the 12 and 34 side

		///// send msg section
		uint8_t TxData[4] = {0};

				TxData[0] =	PawMinSize >> 8;
				TxData[1] =	PawMinSize;
				TxData[2] =	PawMaxSize >> 8;
				TxData[3] =	PawMaxSize;

				TxHeader.StdId = 0x030E;
				TxHeader.RTR = CAN_RTR_DATA;
				TxHeader.DLC = 4;

				//send msg and reset flg
				if (HAL_CAN_AddTxMessage(&hcan, &TxHeader, TxData, &TxMailbox) == HAL_OK) RxFlags &= ~((uint16_t)1<<12);
	}
}

void CalibrationMinDelayAndRange(void)
{
		// colibration of PawsMaxSpeed (MinDelay) and PawMaxPosition and PawMinPosition
			if ((RxFlags & 1<<11) == (uint16_t)1<<11)
			{
				///////////////////////////
				///here mut be functions of colibrtion
				///////////////////////////
				///in time of calibration Voltage on the Motors must be slow
				///////////////////////////

				//send msg section
					uint8_t TxData[8] = {0};

				TxData[0] =	PawMinPosition >> 8;
				TxData[1] =	PawMinPosition;
				TxData[2] =	PawMaxPosition >> 8;
				TxData[3] =	PawMaxPosition;
				TxData[4] =	MinDelay >> 24;
				TxData[5] =	MinDelay >> 16;
				TxData[6] =	MinDelay >> 8;
				TxData[7] =	MinDelay;

				TxHeader.StdId = 0x030D;
				TxHeader.RTR = CAN_RTR_DATA;
				TxHeader.DLC = 8;

				//send msg and reset flg
				if (HAL_CAN_AddTxMessage(&hcan, &TxHeader, TxData, &TxMailbox) == HAL_OK) RxFlags &= ~((uint16_t)1<<11);
			}

}

uint8_t CanTxMsg(uint64_t  Data, uint16_t Addres, uint8_t size)
{
			if (Data == 0)
				{
					TxHeader.StdId = Addres;
					TxHeader.RTR = CAN_RTR_REMOTE;
					TxHeader.DLC = 0;

					//send msg and reset flg
					if(HAL_CAN_AddTxMessage(&hcan, &TxHeader, 0, &TxMailbox) == HAL_OK) return 0;
				}

			if (size == 1)
				{
					uint8_t TxData[1];
					TxData[0] = Data;

					TxHeader.StdId = Addres;
					TxHeader.RTR = CAN_RTR_DATA;
					TxHeader.DLC = 1;

					//send msg and reset flg
					if(HAL_CAN_AddTxMessage(&hcan, &TxHeader, TxData, &TxMailbox) == HAL_OK) return 0;
				}
			if (size == 2)
				{
					uint8_t TxData[2];

					TxData[0] = Data>>8;
					TxData[1] = Data;

					TxHeader.StdId = Addres;
					TxHeader.RTR = CAN_RTR_DATA;
					TxHeader.DLC = 2;

					//send msg and reset flg
					if(HAL_CAN_AddTxMessage(&hcan, &TxHeader, TxData, &TxMailbox) == HAL_OK) return 0;
				}
			if (size == 4)
				{
					uint8_t TxData[4];

					TxData[0] = Data>>24;
					TxData[1] = Data>>16;
					TxData[2] = Data>>8;
					TxData[3] = Data;

					TxHeader.StdId = Addres;
					TxHeader.RTR = CAN_RTR_DATA;
					TxHeader.DLC = 4;

					//send msg and reset flg
					if(HAL_CAN_AddTxMessage(&hcan, &TxHeader, TxData, &TxMailbox) == HAL_OK) return 0;
				}
	return 1;
}

void ScanBox (void)
{
if ((RxFlags & 1<<14) == (uint16_t)1<<14)
	{
		static uint32_t DelayTime    = 0;
		static uint8_t status = 0;
				if(Goal>0)
					{
						if ( (HAL_GPIO_ReadPin(DETECT12_GPIO_Port,DETECT12_Pin) == 1)&& (DelayTime <20000) ) DelayTime ++;
						if ( (HAL_GPIO_ReadPin(DETECT12_GPIO_Port,DETECT12_Pin) == 0)&& (DelayTime>0) ) DelayTime --;

						if ( (DelayTime == 20000) && (status == 0) )
							{
								status = 1;
								//DelayTime = 0;
								CanTxMsg(PositionForTransmit, 0x030E, 2);
							//		GPIOC->ODR = 0 << 13;HAL_Delay(200);GPIOC->ODR = 1 << 13;HAL_Delay(200);
							}

						if ( (DelayTime == 0) && (status == 1) )
							{
								status = 0;
								//DelayTime = 0;
								CanTxMsg(PositionForTransmit,0x030E,2);
								RxFlags &= ~((uint16_t)1<<14);
								//////for debug////////
								//GPIOC->ODR = 1 << 13;
								//////end debug///////
						//		GPIOC->ODR = 0 << 13;HAL_Delay(200);GPIOC->ODR = 1 << 13;HAL_Delay(200);
							}

					 }
				if(Goal<0)
					{
						////////////////////////////////
						///here must be like whan(goal>0)
						///|||||||||||||||||||||||||||||

						if ( (HAL_GPIO_ReadPin(DETECT34_GPIO_Port,DETECT12_Pin) == 1)&& (DelayTime <20000) ) DelayTime ++;
						if ( (HAL_GPIO_ReadPin(DETECT34_GPIO_Port,DETECT12_Pin) == 0)&& (DelayTime>0) ) DelayTime --;

						if ( (DelayTime == 20000) && (status == 0) )
							{
								status = 1;
								CanTxMsg(PositionForTransmit, 0x030E, 2);
							}

						if ( (DelayTime == 0) && (status == 1) )
							{
								status = 0;
								CanTxMsg(PositionForTransmit,0x030E,2);
								RxFlags &= ~((uint16_t)1<<14);
							}

					}
	}
}
/* USER CODE END 4 */

void Error_Handler(void)
{
}

/************************ (C) COPYRIGHT STMicroelectronics *****END OF FILE****/
